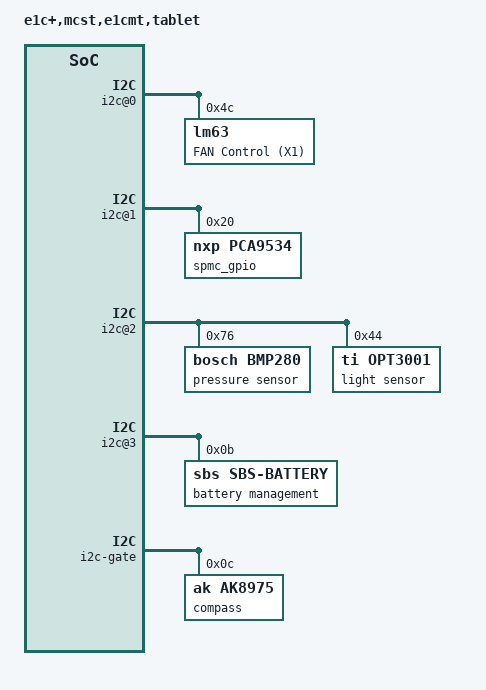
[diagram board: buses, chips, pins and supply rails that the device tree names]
/*
 * E1CMT
 * TVGI.469555.374
 * (Tablet)
 */
/dts-v1/;

/*#include <dt-bindings/input/input.h>*/
/*#include <dt-bindings/interrupt-controller/irq.h>*/
/*#include <dt-bindings/gpio/gpio.h>*/

/ {
	/* version = ""; */
	model = "e1c+,mcst,e1cmt,tablet";
	compatible = "mcst,e1cmt";
	#address-cells = <1>;
	#size-cells = <0>;

	/* IOHUB2 I2C */
	l_i2c@0 {
		#address-cells = <1>;
		#size-cells = <0>;
		reg = <0>;
		compatible = "l_i2c";
		label = "iohub2 i2c";

		i2c@0 {
			#address-cells = <1>;
			#size-cells = <0>;
			reg = <0>;

			lm96163@4c {
				/* hwmon/lm63.ko (DD2:LM96163CISD) */
				compatible = "lm63";
				reg = <0x4c>;
				label = "FAN Control (X1)";

				temp1_label = "Internal Temp";
				temp2_label = "IOHUB Temp";
			};
		};

		i2c@1 {
			#address-cells = <1>;
			#size-cells = <0>;
			reg = <1>;

			pca9534@20 {
				/* gpio/gpio-pca953x.ko (DD20:PCA9534PW) */
				compatible = "nxp,pca9534";
				reg = <0x20>;
				label = "spmc_gpio";

				gpio-controller;
				ngpios = <8>;
				#gpio-cells = <2>;
				gpio-line-names =
					"SPMC_BATLOW_3V3#",
					"SPMC_AC_PWR_PRSNT_3V3",
					"none",
					"none",
					"none",
					"none",
					"none",
					"none";
			};
		};

		i2c@2 {
			#address-cells = <1>;
			#size-cells = <0>;
			reg = <2>;

			/* Pressure Sensor */
			bmp280@76 {
				/* iio/pressure/bmp280.ko (DA14:BMP280) */
				compatible = "bosch,bmp280";
				reg = <0x76>;
				label = "pressure sensor";
			};

			/* Light Sensor */
			opt3001@44 {
				/* iio/light/opt3001.ko (DD17:OPT3001DNPT) */
				compatible = "ti,opt3001";
				reg = <0x44>;
				label = "light sensor";
			};

			/* (DA17:L96) - GPS @20, @21 */
		};

		i2c@3 {
			#address-cells = <1>;
			#size-cells = <0>;
			reg = <3>;

			/* Battery Management unit */
			bq40z60@b {
				/* power/supply/sbs-batterypow.ko (DA11:BQ40Z60RHBT) */
				compatible = "sbs,sbs-battery";
				reg = <0xb>;
				label = "battery management";

				sbs,i2c-retry-count = <2>;
				sbs,poll-retry-count = <10>;
				/* sbs,battery-detect-gpios = <&gpio0 ? 0>; */
			};

			/* (X5:DF52-4S-0.8H(21)) */
		};
	};

	/* PMBUS I2C */
	pmc_i2c {
		#address-cells = <1>;
		#size-cells = <0>;
		compatible = "pmc_i2c";
		label = "pmbus i2c";

		/* touchscreen sensor */
		gt9110@14 {
			/* input/touchscreen/goodix.ko (X2:DD???:) */
			compatible = "goodix,gt9110";
			reg = <0x14>;
			label = "touchscreen";

			interrupt-parent = <&gpio0>;
			/*interrupts = <0 0>;*/
			irq-gpios = <&gpio0 0 0>; /* TS_INT GPIO_ACTIVE_HIGH */
			reset-gpios = <&gpio0 1 0>; /* TS_RST GPIO_ACTIVE_HIGH */
			/*
			touchscreen-inverted-x = 0;
			touchscreen-inverted-y = 0;
			touchscreen-swapped-x-y = 0;
			*/
		};

		/* 9 Axis MEMS MotionTracking - is 2 in 1 package: */
		icm20948@69 {
			/* FIXME: use new driver */
			/* 1) 3-axis accelerometer, 3-axis gyroscope */
			/* iio/imu/inv_mpu6050/inv-mpu6050-i2c.ko (DD16:ICM-20948) */
			compatible = "invensense,mpu9255"; /* mpu9250 ? */
			reg = <0x69>;
			label = "accelerometer, gyroscope";

			interrupt-parent = <&gpio0>;
			/* irq-gpios = <&gpio0 2 1>; /* INT_ICM GPIO_ACTIVE_LOW */
			interrupts = <2 8>; /* INT_ICM IRQ_TYPE_LEVEL_LOW */
			/*mount-matrix = x0, y0, z0, x1, y1, z1, x2, y2, z2;*/
			i2c-gate {
				#address-cells = <1>;
				#size-cells = <0>;

				akm8963@c {
					/* ak8975.ko (DD16:ICM-20948) */
					compatible = "ak,ak8975";
					reg = <0x0c>;
					label = "compass";
				};
			};
		};

		/* (DD29:IT6251FN) - LVDS to DisplayPort 1.1a Transmitter
		 * error!?! --> connect to I2C_GFX3_DDC_1V8 (TP11, TP12)
		 */
	};

	/* IOHUB2 SPI */
	l_spi@0 {
		#address-cells = <1>;
		#size-cells = <0>;
		compatible = "l_spi";
		reg = <0>;
		label = "iohub2 spi";

		boot@0 {
			/* DD23:S25FL064P0XNFI001) */
			compatible = "mcst,boot";
			reg = <0>;
			spi-max-frequency = <25000000>;
		};
		rtc-cy14b101p@1 {
			/* (DD24:CY14B101PA-SFXI) */
			compatible = "rtc-cy14b101p";
			reg = <1>;
			spi-max-frequency = <12500000>;
		};
	};

	/* IOHUB2 GPIO */
	gpio0:l_gpio@0 {
		compatible = "mcst,gpio";
		reg = <0x0>;
		label = "L-GPIO";

		gpio-controller;
		ngpios = <32>;
		#gpio-cells = <2>;
		gpio-line-names =
			/*  0.. 1 */ "TS_INT", "TS_RST", /* touchscreen */
			/*  2.. 3 */ "INT_ICM", "nc", /* MotionTracking */
			/*  4.. 7 */ "GPSPPS", "TP10", "S3", "S4",
			/*  8..11 */ "nc", "nc", "nc", "nc",
			/* 12..15 */ "nc", "nc", "nc", "nc",
			/* 16..19 */ "nc", "nc", "nc", "nc",
			/* 20..23 */ "nc", "nc", "nc", "nc",
			/* 24..27 */ "nc", "nc", "nc", "nc",
			/* 28..31 */ "nc", "nc", "nc", "nc";
	};
};
